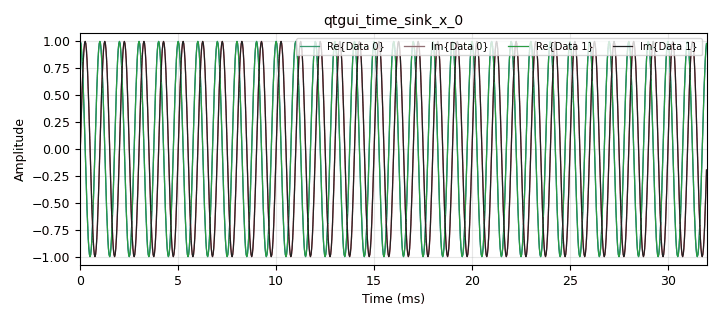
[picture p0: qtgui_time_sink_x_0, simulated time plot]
options:
  parameters:
    generate_options: qt_gui
    id: sink
    output_language: python
    title: Not titled yet
  states: {}

blocks:
- name: samp_rate
  id: variable
  parameters:
    value: '32000'
  states: {}
- name: analog_sig_source_x_0
  id: analog_sig_source_x
  parameters:
    amp: '1'
    freq: '1000'
    offset: '0'
    phase: '0'
    samp_rate: samp_rate
    type: complex
    waveform: analog.GR_COS_WAVE
  states: {}
- name: analog_sig_source_x_1
  id: analog_sig_source_x
  parameters:
    amp: '1'
    freq: '1000'
    offset: '0'
    phase: '0'
    samp_rate: samp_rate
    type: complex
    waveform: analog.GR_COS_WAVE
  states: {}
- name: qtgui_time_sink_x_0
  id: qtgui_time_sink_x
  parameters:
    nconnections: '2'
    size: '1024'
    srate: samp_rate
    tr_chan: '1'
    type: complex
  states: {}

connections:
- [analog_sig_source_x_0, '0', qtgui_time_sink_x_0, '1']
- [analog_sig_source_x_1, '0', qtgui_time_sink_x_0, '0']

metadata:
  file_format: 1
